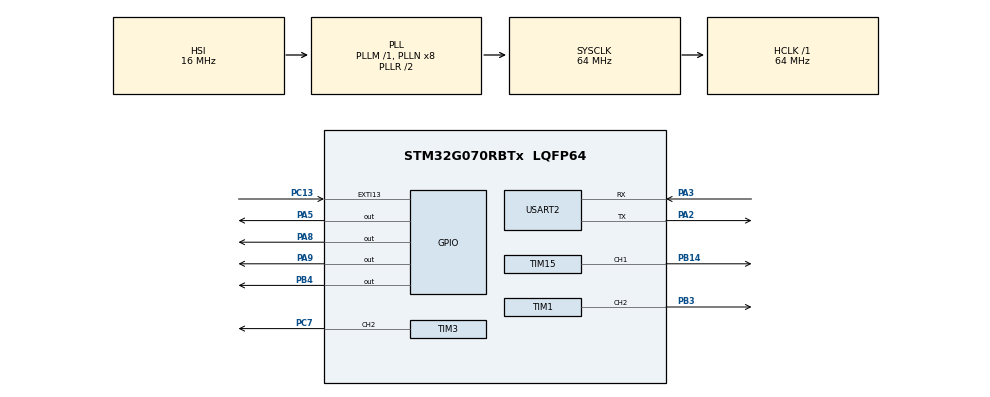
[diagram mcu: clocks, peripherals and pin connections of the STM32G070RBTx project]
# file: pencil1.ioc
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Mcu.Family=STM32G0
Mcu.Name=STM32G070RBTx
Mcu.Package=LQFP64
NVIC.EXTI4_15_IRQn=true\:0\:0\:false\:false\:true\:true\:true\:true
NVIC.TIM15_IRQn=true\:0\:0\:false\:false\:true\:true\:true\:true
NVIC.TIM1_BRK_UP_TRG_COM_IRQn=true\:0\:0\:false\:false\:true\:true\:true\:true
NVIC.TIM1_CC_IRQn=true\:0\:0\:false\:false\:true\:true\:true\:true
NVIC.TIM3_IRQn=true\:0\:0\:false\:false\:true\:true\:true\:true
NVIC.USART2_IRQn=true\:1\:0\:true\:false\:true\:true\:true\:true
PA2.Mode=Asynchronous
PA2.Signal=USART2_TX
PA3.Mode=Asynchronous
PA3.Signal=USART2_RX
PA5.Signal=GPIO_Output
PA8.Signal=GPIO_Output
PA9.Signal=GPIO_Output
PB14.Signal=S_TIM15_CH1
PB3.Signal=S_TIM1_CH2
PB4.Signal=GPIO_Output
PC13.GPIO_ModeDefaultEXTI=GPIO_MODE_IT_FALLING
PC13.GPIO_PuPd=GPIO_PULLUP
PC13.Signal=GPXTI13
PC7.Signal=S_TIM3_CH2
PF0-OSC_IN\ (PF0).Mode=HSE-External-Oscillator
PF0-OSC_IN\ (PF0).Signal=RCC_OSC_IN
PF1-OSC_OUT\ (PF1).Mode=HSE-External-Oscillator
PF1-OSC_OUT\ (PF1).Signal=RCC_OSC_OUT
ProjectManager.HeapSize=0x200
ProjectManager.StackSize=0x400
ProjectManager.TargetToolchain=MDK-ARM V5.32
RCC.ADCFreq_Value=64000000
RCC.AHBFreq_Value=64000000
RCC.CortexFreq_Value=64000000
RCC.EXTERNAL_CLOCK_VALUE=48000
RCC.HCLKFreq_Value=64000000
RCC.HSE_VALUE=8000000
RCC.HSI_VALUE=16000000
RCC.LSE_VALUE=32768
RCC.SYSCLKFreq_VALUE=64000000
RCC.SYSCLKSource=RCC_SYSCLKSOURCE_PLLCLK
RCC.VCOOutputFreq_Value=128000000
SH.S_TIM15_CH1.0=TIM15_CH1,PWM Generation1 CH1
SH.S_TIM1_CH2.0=TIM1_CH2,PWM Generation2 CH2
SH.S_TIM3_CH2.0=TIM3_CH2,PWM Generation2 CH2
TIM1.AutoReloadPreload=TIM_AUTORELOAD_PRELOAD_ENABLE
TIM1.Channel-PWM\ Generation2\ CH2=TIM_CHANNEL_2
TIM1.Period=2000-1
TIM1.Prescaler=64-1
TIM1.Pulse-PWM\ Generation2\ CH2=1000
TIM15.AutoReloadPreload=TIM_AUTORELOAD_PRELOAD_ENABLE
TIM15.Channel-PWM\ Generation1\ CH1=TIM_CHANNEL_1
TIM15.Period=2000-1
TIM15.Prescaler=64-1
TIM15.Pulse-PWM\ Generation1\ CH1=1000
TIM3.AutoReloadPreload=TIM_AUTORELOAD_PRELOAD_ENABLE
TIM3.Channel-PWM\ Generation2\ CH2=TIM_CHANNEL_2
TIM3.Period=2000-1
TIM3.Prescaler=64-1
TIM3.Pulse-PWM\ Generation2\ CH2=1000
USART2.VirtualMode-Asynchronous=VM_ASYNC
VP_TIM15_VS_ClockSourceINT.Mode=Internal
VP_TIM1_VS_ClockSourceINT.Mode=Internal
VP_TIM3_VS_ClockSourceINT.Mode=Internal
board=custom

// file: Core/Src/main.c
/* USER CODE BEGIN Header */
/**
  ******************************************************************************
  * @file           : main.c
  * @brief          : Main program body
  ******************************************************************************
  * @attention
  *
  * Copyright (c) 2026 STMicroelectronics.
  * All rights reserved.
  *
  * This software is licensed under terms that can be found in the LICENSE file
  * in the root directory of this software component.
  * If no LICENSE file comes with this software, it is provided AS-IS.
  *
  ******************************************************************************
  */
/* USER CODE END Header */
#include "main.h"
#include "tim.h"
#include "usart.h"
#include "gpio.h"

/* USER CODE BEGIN Includes */
#include <stdio.h>
#include <string.h>
/* USER CODE END Includes */

/* USER CODE BEGIN PD */
#define MM_TO_STEPS(mm) ((uint32_t)((mm) * 80))

/* USER CODE END PD */

/* USER CODE BEGIN PV */
typedef enum {
    MACHINE_IDLE = 0,
		MACHINE_START,
    MACHINE_PEN_DOWN,
    MACHINE_MOVING,
    MACHINE_PEN_UP,
    MACHINE_PEN_RETURN,
		MACHINE_DRAW_UP,
    MACHINE_DRAW_LEFT,
    MACHINE_DRAW_DOWN,
    MACHINE_DRAW_RIGHT,
    MACHINE_DONE
} MachineState;

volatile MachineState machineState = MACHINE_IDLE;
volatile uint8_t startFlag = 0;
volatile uint8_t speed = 0;
volatile uint32_t xStepCount = 0;
uint32_t xTargetSteps = MM_TO_STEPS(50);
uint32_t p_TargetSteps = MM_TO_STEPS(7);
uint32_t p_r_TargetSteps = MM_TO_STEPS(10);
uint8_t ch;

/* USER CODE END PV */

void SystemClock_Config(void);

int main(void)
{

  /* MCU Configuration--------------------------------------------------------*/

  /* Reset of all peripherals, Initializes the Flash interface and the Systick. */
  HAL_Init();

  /* Configure the system clock */
  SystemClock_Config();

  /* Initialize all configured peripherals */
  MX_GPIO_Init();
  MX_TIM1_Init();
  MX_USART2_UART_Init();
  MX_TIM15_Init();
  MX_TIM3_Init();
  /* USER CODE BEGIN 2 */
	HAL_GPIO_WritePin(GPIOB, GPIO_PIN_4, GPIO_PIN_SET);
	HAL_GPIO_WritePin(GPIOA, GPIO_PIN_8, GPIO_PIN_SET);
	HAL_GPIO_WritePin(GPIOA, GPIO_PIN_9, GPIO_PIN_SET);

	__HAL_TIM_SET_AUTORELOAD(&htim1, 300-1);
	__HAL_TIM_SET_AUTORELOAD(&htim15, 300-1);
	__HAL_TIM_SET_AUTORELOAD(&htim3, 300-1);

	__HAL_TIM_SET_COMPARE(&htim1, TIM_CHANNEL_2, 0);
	__HAL_TIM_SET_COMPARE(&htim15, TIM_CHANNEL_1, 0);
	__HAL_TIM_SET_COMPARE(&htim3, TIM_CHANNEL_2, 0);

	HAL_TIM_PWM_Start(&htim1, TIM_CHANNEL_2);
	HAL_TIM_PWM_Start(&htim15, TIM_CHANNEL_1);
	HAL_TIM_PWM_Start(&htim3, TIM_CHANNEL_2);
	__HAL_TIM_ENABLE_IT(&htim1, TIM_IT_UPDATE);

	HAL_UART_Receive_IT(&huart2, &ch, 1);

  /* USER CODE END 2 */

  /* Infinite loop */
  while (1)
  {

    /* USER CODE BEGIN 3 */
		switch (machineState)
		{
			case MACHINE_IDLE:
			break;

			case MACHINE_PEN_RETURN:
				__HAL_TIM_SET_COMPARE(&htim3, TIM_CHANNEL_2, 150);
				if (xStepCount >= p_r_TargetSteps)
        {
          xStepCount = 0;

					__HAL_TIM_SET_COMPARE(&htim3, TIM_CHANNEL_2, 0);
					machineState = MACHINE_IDLE;
        }
			break;

			case MACHINE_START:
				HAL_GPIO_WritePin(GPIOA, GPIO_PIN_5, GPIO_PIN_SET);
				HAL_UART_Transmit_IT(&huart2, (uint8_t *)"Start\r\n", strlen("Start\r\n"));

				xStepCount = 0;
				if (startFlag == 1)
				{
					machineState = MACHINE_MOVING;

					__HAL_TIM_SET_COMPARE(&htim3, TIM_CHANNEL_2, 0);

					__HAL_TIM_SET_COMPARE(&htim1, TIM_CHANNEL_2, 150);
					__HAL_TIM_SET_COMPARE(&htim15, TIM_CHANNEL_1, 150);
				}else if (startFlag == 2)
				{
					machineState = MACHINE_PEN_DOWN;

					HAL_GPIO_WritePin(GPIOA, GPIO_PIN_9, GPIO_PIN_RESET);
					__HAL_TIM_SET_COMPARE(&htim3, TIM_CHANNEL_2, 150);
				}

			break;

			case MACHINE_PEN_DOWN:
				if (xStepCount >= p_TargetSteps)
				{
					__HAL_TIM_SET_COMPARE(&htim3, TIM_CHANNEL_2, 0);

					__HAL_TIM_SET_COMPARE(&htim1, TIM_CHANNEL_2, 150);
					__HAL_TIM_SET_COMPARE(&htim15, TIM_CHANNEL_1, 150);

					machineState = MACHINE_DRAW_DOWN;
					xStepCount = 0;
				}
			break;

			case MACHINE_MOVING:
				if (xStepCount >= xTargetSteps)
        {
          xStepCount = 0;

					__HAL_TIM_SET_COMPARE(&htim1, TIM_CHANNEL_2, 0);
					__HAL_TIM_SET_COMPARE(&htim15, TIM_CHANNEL_1, 0);
          machineState = MACHINE_DONE;
        }
			break;

			case MACHINE_DRAW_UP:
				HAL_GPIO_WritePin(GPIOB, GPIO_PIN_4, GPIO_PIN_SET);
				HAL_GPIO_WritePin(GPIOA, GPIO_PIN_8, GPIO_PIN_RESET);

				if (xStepCount >= xTargetSteps)
        {
          xStepCount = 0;

          machineState = MACHINE_DRAW_RIGHT;
        }
			break;

			case MACHINE_DRAW_DOWN:
				HAL_GPIO_WritePin(GPIOB, GPIO_PIN_4, GPIO_PIN_RESET);
				HAL_GPIO_WritePin(GPIOA, GPIO_PIN_8, GPIO_PIN_SET);

				if (xStepCount >= xTargetSteps)
        {
          xStepCount = 0;

          machineState = MACHINE_DRAW_LEFT;
        }
			break;

			case MACHINE_DRAW_LEFT:
				HAL_GPIO_WritePin(GPIOB, GPIO_PIN_4, GPIO_PIN_RESET);
				HAL_GPIO_WritePin(GPIOA, GPIO_PIN_8, GPIO_PIN_RESET);

				if (xStepCount >= xTargetSteps)
        {
          xStepCount = 0;

          machineState = MACHINE_DRAW_UP;
        }
			break;

			case MACHINE_DRAW_RIGHT:
				HAL_GPIO_WritePin(GPIOB, GPIO_PIN_4, GPIO_PIN_SET);
				HAL_GPIO_WritePin(GPIOA, GPIO_PIN_8, GPIO_PIN_SET);

				if (xStepCount >= xTargetSteps)
        {
          xStepCount = 0;

          machineState = MACHINE_PEN_UP;
        }
			break;

			case MACHINE_PEN_UP:
				HAL_GPIO_WritePin(GPIOA, GPIO_PIN_9, GPIO_PIN_SET);
				__HAL_TIM_SET_COMPARE(&htim1, TIM_CHANNEL_2, 0);
				__HAL_TIM_SET_COMPARE(&htim15, TIM_CHANNEL_1, 0);
				__HAL_TIM_SET_COMPARE(&htim3, TIM_CHANNEL_2, 150);

				if (xStepCount >= p_TargetSteps)
				{
					xStepCount = 0;

					__HAL_TIM_SET_COMPARE(&htim3, TIM_CHANNEL_2, 0);
					machineState = MACHINE_DONE;
				}
			break;

			case MACHINE_DONE:
				HAL_GPIO_WritePin(GPIOA, GPIO_PIN_5, GPIO_PIN_RESET);
				HAL_UART_Transmit_IT(&huart2, (uint8_t *)"Stop\r\n", strlen("Stop\r\n"));

				startFlag = 0;
				machineState = MACHINE_IDLE;
			break;
		}
	}
  /* USER CODE END 3 */
}

void SystemClock_Config(void)
{
  RCC_OscInitTypeDef RCC_OscInitStruct = {0};
  RCC_ClkInitTypeDef RCC_ClkInitStruct = {0};

  /** Configure the main internal regulator output voltage
  */
  HAL_PWREx_ControlVoltageScaling(PWR_REGULATOR_VOLTAGE_SCALE1);

  /** Initializes the RCC Oscillators according to the specified parameters
  * in the RCC_OscInitTypeDef structure.
  */
  RCC_OscInitStruct.OscillatorType = RCC_OSCILLATORTYPE_HSI;
  RCC_OscInitStruct.HSIState = RCC_HSI_ON;
  RCC_OscInitStruct.HSIDiv = RCC_HSI_DIV1;
  RCC_OscInitStruct.HSICalibrationValue = RCC_HSICALIBRATION_DEFAULT;
  RCC_OscInitStruct.PLL.PLLState = RCC_PLL_ON;
  RCC_OscInitStruct.PLL.PLLSource = RCC_PLLSOURCE_HSI;
  RCC_OscInitStruct.PLL.PLLM = RCC_PLLM_DIV1;
  RCC_OscInitStruct.PLL.PLLN = 8;
  RCC_OscInitStruct.PLL.PLLP = RCC_PLLP_DIV2;
  RCC_OscInitStruct.PLL.PLLR = RCC_PLLR_DIV2;
  if (HAL_RCC_OscConfig(&RCC_OscInitStruct) != HAL_OK)
  {
    Error_Handler();
  }

  /** Initializes the CPU, AHB and APB buses clocks
  */
  RCC_ClkInitStruct.ClockType = RCC_CLOCKTYPE_HCLK|RCC_CLOCKTYPE_SYSCLK
                              |RCC_CLOCKTYPE_PCLK1;
  RCC_ClkInitStruct.SYSCLKSource = RCC_SYSCLKSOURCE_PLLCLK;
  RCC_ClkInitStruct.AHBCLKDivider = RCC_SYSCLK_DIV1;
  RCC_ClkInitStruct.APB1CLKDivider = RCC_HCLK_DIV1;

  if (HAL_RCC_ClockConfig(&RCC_ClkInitStruct, FLASH_LATENCY_2) != HAL_OK)
  {
    Error_Handler();
  }
}

/* USER CODE BEGIN 4 */
void HAL_TIM_PeriodElapsedCallback(TIM_HandleTypeDef *htim)
{
    if (htim->Instance == TIM1)
    {
        xStepCount++;
    }
}

void HAL_GPIO_EXTI_Falling_Callback(uint16_t GPIO_Pin)
{
	if (GPIO_Pin == GPIO_PIN_13)
  {
		startFlag = 2;
		machineState = MACHINE_START;
	}
}

void HAL_UART_RxCpltCallback(UART_HandleTypeDef *huart)
{
	if (ch == 's')
	{
		HAL_GPIO_WritePin(GPIOB, GPIO_PIN_4, GPIO_PIN_RESET);
		HAL_GPIO_WritePin(GPIOA, GPIO_PIN_8, GPIO_PIN_SET);

		startFlag = 1;
		machineState = MACHINE_START;

		HAL_UART_Receive_IT(&huart2, &ch, 1);
	}else if (ch == 'd')
	{
		HAL_GPIO_WritePin(GPIOB, GPIO_PIN_4, GPIO_PIN_SET);
		HAL_GPIO_WritePin(GPIOA, GPIO_PIN_8, GPIO_PIN_SET);

		startFlag = 1;
		machineState = MACHINE_START;

		HAL_UART_Receive_IT(&huart2, &ch, 1);
	}else if (ch == 'w')
	{
		HAL_GPIO_WritePin(GPIOB, GPIO_PIN_4, GPIO_PIN_SET);
		HAL_GPIO_WritePin(GPIOA, GPIO_PIN_8, GPIO_PIN_RESET);

		startFlag = 1;
		machineState = MACHINE_START;

		HAL_UART_Receive_IT(&huart2, &ch, 1);
	}else if (ch == 'a')
	{
		HAL_GPIO_WritePin(GPIOB, GPIO_PIN_4, GPIO_PIN_RESET);
		HAL_GPIO_WritePin(GPIOA, GPIO_PIN_8, GPIO_PIN_RESET);

		startFlag = 1;
		machineState = MACHINE_START;

		HAL_UART_Receive_IT(&huart2, &ch, 1);
	}else if (ch == 'r')
	{
		HAL_GPIO_WritePin(GPIOA, GPIO_PIN_9, GPIO_PIN_SET);

		xStepCount = 0;
		machineState = MACHINE_PEN_RETURN;

		HAL_UART_Receive_IT(&huart2, &ch, 1);
	}
}
/* USER CODE END 4 */

void Error_Handler(void)
{
  __disable_irq();
  while (1)
  {
  }
}
